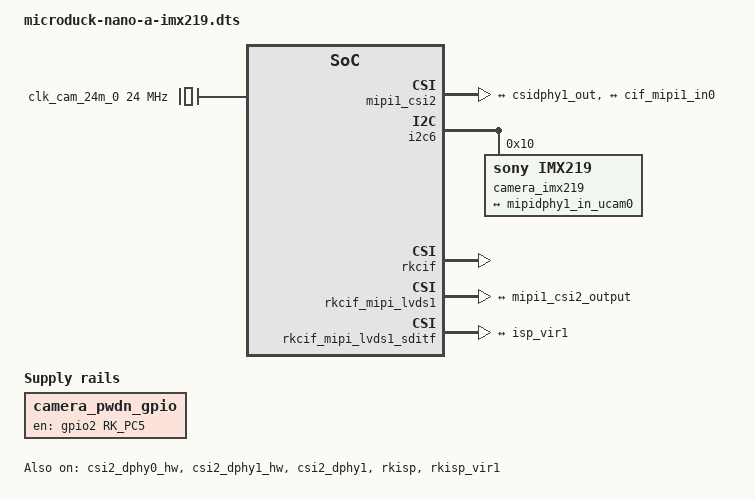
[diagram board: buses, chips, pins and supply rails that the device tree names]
// IMX219 on the Waveshare CM4-NANO-A carrier with a Radxa CM4 (RK3576).
//
// This is Radxa's overlay for their CM4 on a Raspberry Pi CM4 IO board, camera on CAM0
// (radxa-pkg/radxa-overlays, radxa-cm4-rpi-cm4-io-radxa-camera-8m-219-cam0.dts), with only the
// metadata and the module name changed. It applies to the NANO-A unchanged because the NANO-A
// wires its single 15-pin CSI connector exactly as Pi CAM0 (CM4-NANO-A schematic, sheet 1):
//
//   connector pins 1-9   CAM0_D0_N/P, CAM0_D1_N/P, CAM0_CLK_N/P   -> RK3576 CSI1 (csi2_dphy1, mipi1_csi2)
//   connector pin  11    PWDN  = CAM_GPIO net, CM4 pin 97            -> GPIO2_C5, driven high as a regulator
//   connector pins 13,14 SCL, SDA = ID_SCL, ID_SDA nets              -> I2C6 on its M3 pins (header pins 27 and 28)
//   connector pin  12    MCLK, not connected                          -> the module has its own 24 MHz oscillator
//
// The carrier pulls SCL and SDA up with 4.7 kOhm (R20, R21). The I2C bus is I2C6, not I2C0:
// I2C0 M1 is the CM4's SDA0/SCL0 pair, which Pi carriers route to CAM1 and to the CM4 IO
// board's fan controller and RTC.
//
// Armbian user overlay: compiled and installed by scripts/compute/setup-camera.sh into
// /boot/overlay-user/ and named in user_overlays= in /boot/armbianEnv.txt. Needs the vendor
// kernel (6.1 rk35xx), which has rkcif, rkisp, the CSI D-PHY and the IMX219 driver built in.
//
// rockchip,camera-module-name is "rpi-camera-v2" so the tuning file rkaiq looks for is
// imx219_rpi-camera-v2_default.json, the name the upstream microduck setup-rkaiq.sh expects.

/dts-v1/;
/plugin/;

#include <dt-bindings/gpio/gpio.h>
#include <dt-bindings/pinctrl/rockchip.h>

/ {
	metadata {
		title = "IMX219 on the CM4-NANO-A CSI connector";
		compatible = "radxa,cm4-io";
		category = "camera";
		exclusive = "csi2_dphy1", "i2c6";
		description = "Radxa CM4 on Waveshare CM4-NANO-A: IMX219 on CSI1 (Pi CAM0 lanes), control I2C on I2C6 M3 (Pi ID_SD/ID_SC), enable on GPIO2_C5 (Pi CAM_GPIO).";
	};
};

&{/} {
	camera_pwdn_gpio: camera-pwdn-gpio {
		compatible = "regulator-fixed";
		regulator-name = "camera_pwdn_gpio";
		regulator-always-on;
		regulator-boot-on;
		enable-active-high;
		gpio = <&gpio2 RK_PC5 GPIO_ACTIVE_HIGH>;
		pinctrl-names = "default";
		pinctrl-0 = <&cam_pwdn_gpio>;
	};

	clk_cam_24m_0: external-camera-clock-24m-0 {
		compatible = "fixed-clock";
		clock-frequency = <24000000>;
		clock-output-names = "clk_cam_24m_0";
		#clock-cells = <0>;
	};
};

&csi2_dphy0_hw {
	status = "okay";
};

&csi2_dphy1_hw {
	status = "okay";
};

&csi2_dphy1 {
	status = "okay";

	ports {
		#address-cells = <1>;
		#size-cells = <0>;

		port@0 {
			reg = <0>;
			#address-cells = <1>;
			#size-cells = <0>;

			mipidphy1_in_ucam0: endpoint@1 {
				reg = <1>;
				remote-endpoint = <&imx219_out0>;
				data-lanes = <1 2>;
			};
		};

		port@1 {
			reg = <1>;
			#address-cells = <1>;
			#size-cells = <0>;

			csidphy1_out: endpoint@0 {
				reg = <0>;
				remote-endpoint = <&mipi1_csi2_input>;
			};
		};
	};
};

&mipi1_csi2 {
	status = "okay";

	ports {
		#address-cells = <1>;
		#size-cells = <0>;

		port@0 {
			reg = <0>;
			#address-cells = <1>;
			#size-cells = <0>;

			mipi1_csi2_input: endpoint@1 {
				reg = <1>;
				remote-endpoint = <&csidphy1_out>;
			};
		};

		port@1 {
			reg = <1>;
			#address-cells = <1>;
			#size-cells = <0>;

			mipi1_csi2_output: endpoint@0 {
				reg = <0>;
				remote-endpoint = <&cif_mipi1_in0>;
			};
		};
	};
};

&i2c6 {
	status = "okay";
	pinctrl-0 = <&i2c6m3_xfer>;
	pinctrl-names = "default";
	#address-cells = <1>;
	#size-cells = <0>;

	camera_imx219: camera-imx219@10 {
		compatible = "sony,imx219";
		reg = <0x10>;

		clocks = <&clk_cam_24m_0>;
		clock-names = "xvclk";

		rockchip,camera-module-index = <0>;
		rockchip,camera-module-facing = "front";
		rockchip,camera-module-name = "rpi-camera-v2";
		rockchip,camera-module-lens-name = "default";

		port {
			imx219_out0: endpoint {
				remote-endpoint = <&mipidphy1_in_ucam0>;
				data-lanes = <1 2>;
			};
		};
	};
};

&rkcif {
	status = "okay";
};

&rkcif_mmu {
	status = "okay";
};

&rkcif_mipi_lvds1 {
	status = "okay";

	port {
		cif_mipi1_in0: endpoint {
			remote-endpoint = <&mipi1_csi2_output>;
		};
	};
};

&rkcif_mipi_lvds1_sditf {
	status = "okay";

	port {
		mipi_lvds1_sditf: endpoint {
			remote-endpoint = <&isp_vir1>;
		};
	};
};

&rkisp {
	status = "okay";
};

&rkisp_mmu {
	status = "okay";
};

&rkisp_vir1 {
	status = "okay";

	port {
		#address-cells = <1>;
		#size-cells = <0>;

		isp_vir1: endpoint@0 {
			reg = <0>;
			remote-endpoint = <&mipi_lvds1_sditf>;
		};
	};
};

&pinctrl {
	camera {
		cam_pwdn_gpio: cam-pwdn-gpio {
			rockchip,pins = <2 RK_PC5 RK_FUNC_GPIO &pcfg_pull_up>;
		};
	};
};
